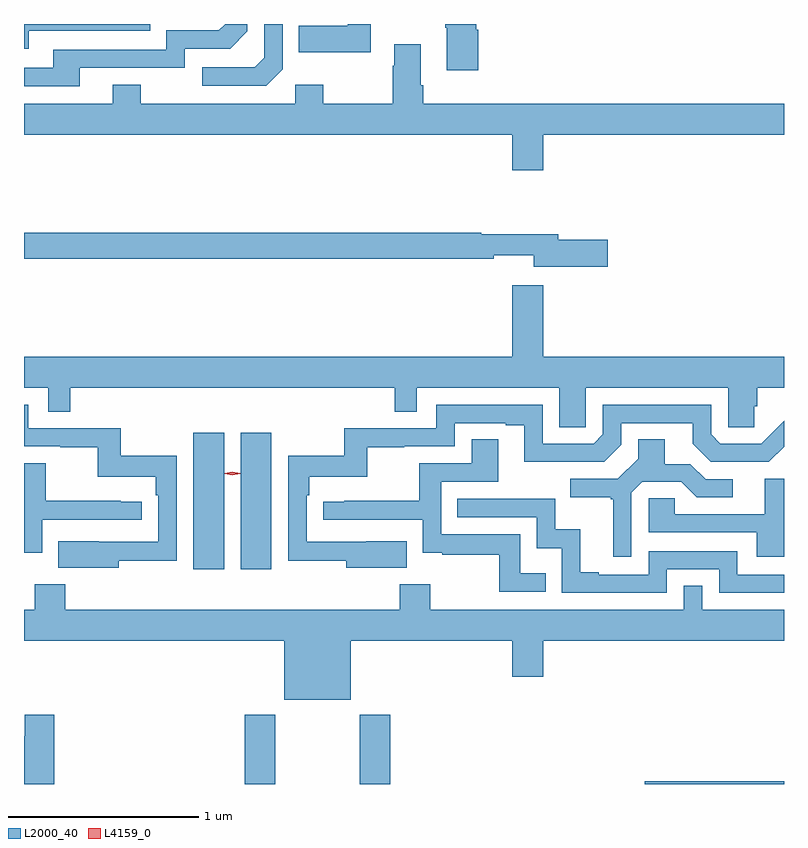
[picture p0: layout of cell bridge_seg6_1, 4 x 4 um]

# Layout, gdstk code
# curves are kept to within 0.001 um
import gdstk
lib = gdstk.Library(unit=1e-6, precision=1e-09)
def R(c, l, rs):  # rectangles x0, y0, x1, y1
    for r in rs: c.add(gdstk.rectangle(r[:2], r[2:], *l))
def P(c, l, *ps):  # polygons
    for p in ps: c.add(gdstk.Polygon(p, *l))
L2000_40 = (2000, 40)
L4159_0 = (4159, 0)

bridge_seg6_1 = lib.new_cell('bridge_seg6_1')
R(bridge_seg6_1, L2000_40, [(882.881,930.599,883.041,930.964), (883.486,930.599,883.646,930.964), (884.987,930.599,885.719,930.614), (882.611,931.728,882.772,932.449), (882.86,931.728,883.021,932.449)])
P(bridge_seg6_1, L2000_40, [(883.08,934.362),(883.08,934.599),(882.984,934.599),(882.984,934.422),(882.933,934.371),(882.657,934.371),(882.657,934.275),(882.993,934.275)],
  [(883.543,934.599),(883.422,934.599),(883.422,934.591),(883.165,934.591),(883.165,934.451),(883.543,934.451)],
  [(884.111,934.568),(884.098,934.568),(884.098,934.599),(883.936,934.599),(883.936,934.579),(883.943,934.579),(883.943,934.356),(884.111,934.356)],
  [(882.013,934.368),(882.564,934.368),(882.564,934.47),(882.804,934.47),(882.894,934.56),(882.894,934.599),(882.777,934.599),(882.745,934.567),(882.468,934.567),(882.468,934.464),(881.873,934.464),(881.873,934.368),(881.719,934.368),(881.719,934.272),(882.013,934.272)],
  [(881.743,934.563),(882.383,934.563),(882.383,934.599),(881.719,934.599),(881.719,934.469),(881.743,934.469)],
  [(884.452,934.016),(885.719,934.016),(885.719,934.18),(883.82,934.18),(883.82,934.276),(883.807,934.276),(883.807,934.492),(883.667,934.492),(883.667,934.379),(883.66,934.379),(883.66,934.18),(883.293,934.18),(883.293,934.279),(883.146,934.279),(883.146,934.18),(882.333,934.18),(882.333,934.279),(882.185,934.279),(882.185,934.18),(881.719,934.18),(881.719,934.016),(884.288,934.016),(884.288,933.828),(884.452,933.828)],
  [(884.791,933.464),(884.53,933.464),(884.53,933.493),(884.126,933.493),(884.126,933.5),(881.719,933.5),(881.719,933.364),(884.192,933.364),(884.192,933.383),(884.402,933.383),(884.402,933.322),(884.791,933.322)],
  [(884.676,932.684),(885.426,932.684),(885.426,932.476),(885.563,932.476),(885.563,932.586),(885.578,932.586),(885.578,932.684),(885.719,932.684),(885.719,932.848),(884.452,932.848),(884.452,933.223),(884.288,933.223),(884.288,932.848),(881.719,932.848),(881.719,932.684),(881.847,932.684),(881.847,932.557),(881.963,932.557),(881.963,932.684),(883.669,932.684),(883.669,932.557),(883.785,932.557),(883.785,932.684),(884.537,932.684),(884.537,932.476),(884.676,932.476)],
  [(882.217,931.774),(882.522,931.774),(882.522,932.326),(882.229,932.326),(882.229,932.472),(881.742,932.472),(881.742,932.595),(881.719,932.595),(881.719,932.376),(881.911,932.376),(881.911,932.371),(882.108,932.371),(882.108,932.216),(882.413,932.216),(882.413,932.12),(882.426,932.12),(882.426,931.875),(882.113,931.875),(882.113,931.876),(881.899,931.876),(881.899,931.736),(882.217,931.736)],
  [(883.733,931.876),(883.206,931.875),(883.206,932.12),(883.22,932.12),(883.22,932.216),(883.525,932.216),(883.525,932.371),(883.721,932.371),(883.721,932.376),(883.986,932.376),(883.986,932.499),(884.255,932.499),(884.255,932.487),(884.351,932.487),(884.351,932.294),(884.772,932.295),(884.862,932.385),(884.862,932.499),(885.239,932.499),(885.239,932.389),(885.333,932.295),(885.639,932.295),(885.719,932.375),(885.719,932.51),(885.6,932.391),(885.384,932.391),(885.336,932.439),(885.336,932.595),(884.766,932.595),(884.766,932.439),(884.718,932.391),(884.448,932.391),(884.448,932.595),(883.89,932.595),(883.89,932.472),(883.404,932.472),(883.404,932.326),(883.11,932.326),(883.11,931.774),(883.415,931.774),(883.415,931.736),(883.733,931.736)],
  [(884.465,931.708),(884.331,931.708),(884.331,931.914),(883.914,931.914),(883.914,932.19),(884.215,932.19),(884.215,932.414),(884.075,932.414),(884.075,932.286),(883.798,932.286),(883.798,932.09),(883.405,932.09),(883.405,932.085),(883.293,932.085),(883.293,931.989),(883.818,931.989),(883.818,931.817),(883.921,931.817),(883.921,931.806),(884.22,931.806),(884.22,931.611),(884.465,931.611)],
  [(884.916,932.133),(884.973,932.19),(885.179,932.19),(885.26,932.109),(885.448,932.109),(885.448,932.202),(885.306,932.202),(885.226,932.282),(885.091,932.282),(885.091,932.414),(884.951,932.414),(884.951,932.312),(884.844,932.205),(884.595,932.205),(884.595,932.108),(884.808,932.108),(884.808,932.097),(884.819,932.097),(884.819,931.794),(884.916,931.794)],
  [(881.814,931.989),(882.34,931.989),(882.34,932.085),(882.227,932.085),(882.227,932.09),(881.834,932.09),(881.834,932.286),(881.719,932.286),(881.719,931.817),(881.814,931.817)],
  [(885.719,932.205),(885.617,932.205),(885.617,932.019),(885.143,932.019),(885.143,932.103),(885.006,932.103),(885.006,931.923),(885.575,931.923),(885.575,931.794),(885.719,931.794)],
  [(885.102,931.728),(885.378,931.728),(885.378,931.605),(885.719,931.605),(885.719,931.701),(885.474,931.701),(885.474,931.824),(885.006,931.824),(885.006,931.701),(884.743,931.701),(884.743,931.714),(884.647,931.714),(884.647,931.939),(884.514,931.939),(884.514,932.1),(883.999,932.1),(883.999,932.004),(884.418,932.004),(884.418,931.841),(884.55,931.841),(884.55,931.605),(885.102,931.605)],
  [(883.438,931.352),(884.288,931.352),(884.288,931.164),(884.452,931.164),(884.452,931.352),(885.719,931.352),(885.719,931.516),(885.288,931.516),(885.288,931.643),(885.192,931.643),(885.192,931.516),(883.857,931.516),(883.857,931.651),(883.697,931.651),(883.697,931.516),(881.936,931.516),(881.936,931.651),(881.776,931.651),(881.776,931.516),(881.719,931.516),(881.719,931.352),(883.088,931.352),(883.088,931.043),(883.438,931.043)],
  [(881.879,930.964),(881.723,930.964),(881.723,930.851),(881.719,930.851),(881.719,930.599),(881.879,930.599)])
P(bridge_seg6_1, L4159_0, [(882.816,932.224),(882.776,932.233),(882.776,932.234),(882.776,932.234),(882.816,932.243),(882.856,932.234),(882.856,932.234),(882.856,932.233)])

lib.write_gds('bridge_seg6_1.gds')
